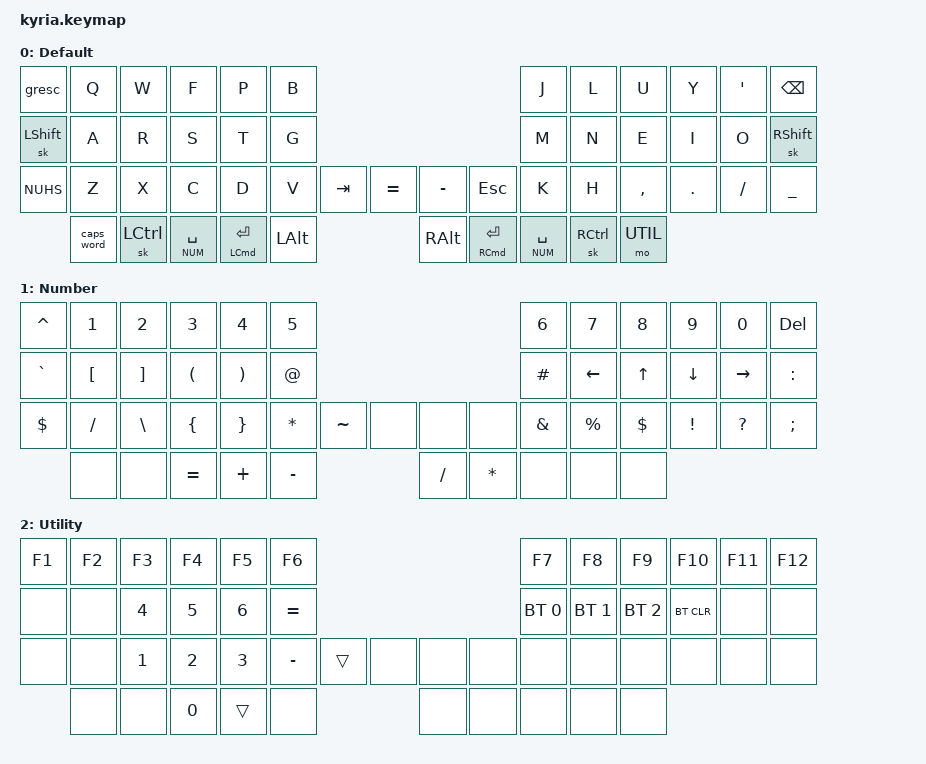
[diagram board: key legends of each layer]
/*
 * Copyright (c) 2020 The ZMK Contributors
 *
 * SPDX-License-Identifier: MIT
 */
#define DEFAULT 0
#define NUM     1
#define UTIL    2

#include <behaviors.dtsi>
#include <dt-bindings/zmk/bt.h>
#include <dt-bindings/zmk/keys.h>
#include <dt-bindings/zmk/outputs.h>
#include <dt-bindings/zmk/ext_power.h>

/ {
    behaviors {
        rpht: rightpositional_hold_tap {
            compatible = "zmk,behavior-hold-tap";
            label = "POSITIONAL_HOLD_TAPR";
            #binding-cells = <2>;
            flavor = "tap-preferred";
            tapping-term-ms = <200>;
            quick-tap-ms = <0>;
            bindings = <&kp>, <&kp>;
            hold-trigger-key-positions = <1 2 3 4 5 12 13 14 15 17 16 24 25 26 27 28 29>;    // <---[[the W key]]
        };
        lpht: leftpositional_hold_tap {
            compatible = "zmk,behavior-hold-tap";
            label = "POSITIONAL_HOLD_TAPL";
            #binding-cells = <2>;
            flavor = "balanced";
            tapping-term-ms = <212>;
            quick-tap-ms = <0>;
            bindings = <&kp>, <&kp>;
            hold-trigger-key-positions = <6 7 8 9 10 11 18 19 20 21 22 23 30 31 32 33 34 35>;
        };
        
    };

    keymap {
        compatible = "zmk,keymap";

        default_layer {
// --------------------------------------------- Colemak - DH -------------------------------------------
// | ESC |  Q  |  W  |  F  |  P  |  B  |                             |  J  |  L  |  U  |  Y  |  '" | BSPC|
// | SHT |  A  |  R  |  S  |  T  |  G  |                             |  M  |  N  |  E  |  I  |  O  | SHT |
// | #~  |  Z  |  X  |  C  |  D  |  V  |  TAB   | =+  |  |     |     |  K  |  H  |  ,< |  .> |  /? | _   |
//                   | cap | CTR | NUM |  COM   | ALT |  | ALT | COM | SPC | CTR |UTIL |

            label = "Default";

            bindings = <
    &gresc     &kp Q &kp W &kp F &kp P &kp B                                                    &kp J         &kp L      &kp U     &kp Y   &kp APOS &kp BSPC
    &sk LSHIFT &kp A &kp R &kp S &kp T &kp G                                                    &kp M         &kp N      &kp E     &kp I   &kp O    &sk RSHIFT
    &kp NUHS   &kp Z &kp X &kp C &kp D &kp V     &kp TAB  &kp EQUAL      &kp MINUS  &kp ESC     &kp K         &kp H      &kp COMMA &kp DOT &kp FSLH &kp UNDER
              &caps_word &sk LCTRL &lt NUM SPACE &mt LCMD RET &kp LALT  &kp RALT    &mt RCMD RET &lt NUM SPACE &sk RCTRL &mo UTIL
            >;
        };

        number_layer {
// ------------------------------------------ NUMBER LAYER --------------------------------------------
// | ESC | ESC |  7  |  8  |  9  |  ,  |                          | DWN | RGT |    |     |     |  DEL |
// | TAB | TAB |  4  |  5  |  6  |  0  |                          | LFT | LFT | UP | DWN | RIGHT   |  '  |
// | SFT | CPS |  1  |  2  |  3  |  .  | ESC | SPC |  |     | GUI |  UP | LFT |    |     |     | CTR |
//                   | MUT | TAB | CTR | SFT | SPC |  |     | BSP | DEL | ALT |    |

            label = "Number";

            bindings = <
    &kp CARET &kp N1   &kp N2   &kp N3   &kp N4   &kp N5                            &kp N6   &kp N7    &kp N8   &kp N9   &kp N0    &kp DEL
    &kp GRAVE &kp LBKT &kp RBKT &kp LPAR &kp RPAR &kp AT                            &kp HASH &kp LEFT  &kp UP   &kp DOWN &kp RIGHT &kp COLON
    &kp DLLR  &kp FSLH &kp BSLH &kp LBRC &kp RBRC &kp STAR &kp TILDE &none &none &none &kp AMPS &kp PRCNT &kp DLLR &kp EXCL &kp QMARK &kp SEMI
                       &none    &none    &kp EQUAL &kp PLUS &kp MINUS &kp FSLH &kp STAR &none &none    &none

            >;
        };

        utility_layer {
// ----------------------------------------- UTILITY LAYER --------------------------------------------
// | F1  | F2  | F3  | F4  | F5  | F6  |                          | F7  | F8  | F9  | F10 | F11 | F12 |
// | EFF | SPI | BRI | SAI | HUI | TOG |                          | BT0 | BT1 | BT2 | BT3 | BT4 |     |
// | EFR | SPD | BRD | SAD | HUD | PTG | ESC | SPC |  |     | GUI | PTG | NXT | PRV | CLR |     | BTG |
//                   | MUT | TAB | CTR | SFT | SPC |  |     | BSP | DEL | ALT | GMR |

            label = "Utility";

            bindings = <
    &kp F1 &kp F2 &kp F3 &kp F4 &kp F5 &kp F6                           &kp F7       &kp F8       &kp F9       &kp F10    &kp F11 &kp F12
    &none &none &kp N4 &kp N5 &kp N6 &kp EQUAL                          &bt BT_SEL 0 &bt BT_SEL 1 &bt BT_SEL 2 &bt BT_CLR &none   &none
    &none &none &kp N1 &kp N2 &kp N3 &kp MINUS &trans &none &none &none &none        &none        &none        &none      &none   &none
                       &none  &none  &kp N0    &trans &none &none &none &none &none  &none
           >;
        };          
    };
};
